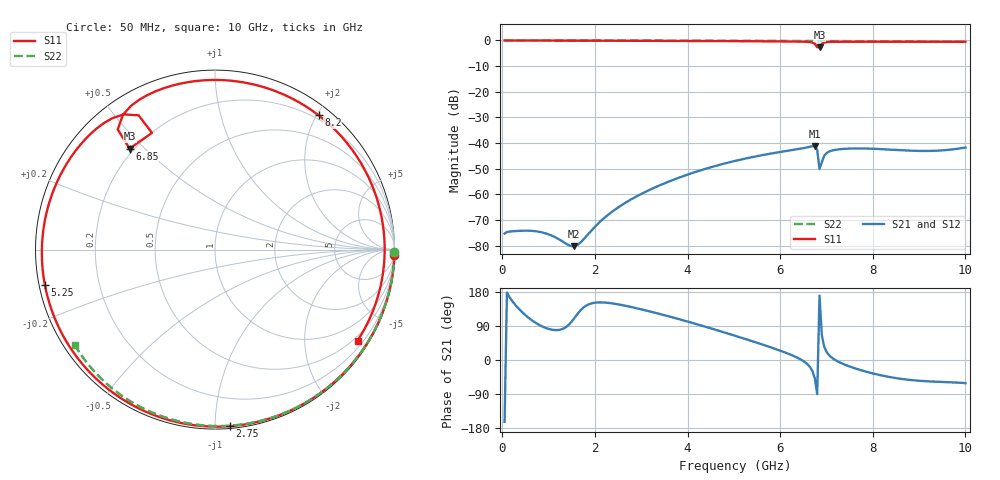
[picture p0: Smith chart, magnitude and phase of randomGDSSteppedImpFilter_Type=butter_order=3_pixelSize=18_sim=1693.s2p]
! freq	dB(S11)	phase(S11)	dB(S12)	phase(S12)
!  dB(S21)	phase(S21)	dB(S22)	phase(S22)
!S-par simulation data
#  GHz  S  DB  R 50
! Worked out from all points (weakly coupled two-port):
!   200 points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, 50 MHz to 10 GHz, reference 50 ohm
!   highest |S21| = -41.15 dB at 6.75 GHz (marker M1); lowest = -80.1 dB at 1.55 GHz (marker M2)
!   lowest |S11| = -2.6 dB at 6.85 GHz (marker M3), VSWR 6.61, Z = 9.15 + j22.6 ohm
!   |S11| at or under -10 dB: nowhere
!   |S22| runs from -0.5 to 0.0 dB; largest |S21 - S12| = 0
!   S11 on the Smith chart (normalised r, x): 50 MHz: 0, -73; 2.75 GHz: 0.01, -1.09; 5.25 GHz: 0.02, -0.10; 6.85 GHz: 0.18, +0.45; 8.2 GHz: 0.14, +2.03; 10 GHz: 0.37, -3.38
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0.05  -0.00 -1.6  -75.23 -163.2  -75.23 -163.2  -0.00 -0.8
0.8  -0.03 -25.1  -74.55 92.4  -74.55 92.4  -0.01 -13.4
1.55  -0.06 -48.2  -80.15 109.7  -80.15 109.7  -0.03 -25.8
1.75  -0.07 -54.4  -77.59 138.3  -77.59 138.3  -0.04 -29.1
2.2  -0.09 -68.2  -69.19 151.7  -69.19 151.7  -0.05 -36.4
2.75  -0.11 -85.1  -62.25 140.8  -62.25 140.8  -0.06 -45.2
3.4  -0.14 -105.3  -56.43 121.5  -56.43 121.5  -0.07 -55.3
4.2  -0.19 -131.1  -51.07 94.5  -51.07 94.5  -0.09 -67.4
5.05  -0.26 -160.7  -46.83 63.1  -46.83 63.1  -0.12 -79.8
5.25  -0.28 -168.2  -46.01 55.4  -46.01 55.4  -0.13 -82.7
6.1  -0.38 156.7  -43.16 20.2  -43.16 20.2  -0.17 -94.6
6.7  -0.82 124.1  -41.18 -30.1  -41.18 -30.1  -0.20 -102.8
6.75  -1.30 119.6  -41.15 -48.9  -41.15 -48.9  -0.20 -103.4
6.8  -2.62 118.4  -42.63 -90.0  -42.63 -90.0  -0.21 -104.1
6.85  -2.65 130.2  -50.02 169.9  -50.02 169.9  -0.21 -104.8
7  -0.65 120.3  -43.91 21.9  -43.91 21.9  -0.22 -106.8
7.35  -0.49 99.1  -42.27 -9.9  -42.27 -9.9  -0.24 -111.4
7.75  -0.49 76.9  -42.08 -27.1  -42.08 -27.1  -0.27 -116.7
8.2  -0.49 52.3  -42.35 -41.0  -42.35 -41.0  -0.31 -122.5
8.35  -0.49 44.3  -42.50 -44.7  -42.50 -44.7  -0.32 -124.5
9.1  -0.49 6.3  -43.05 -55.6  -43.05 -55.6  -0.39 -134.2
10  -0.52 -32.6  -41.72 -61.0  -41.72 -61.0  -0.49 -145.9
